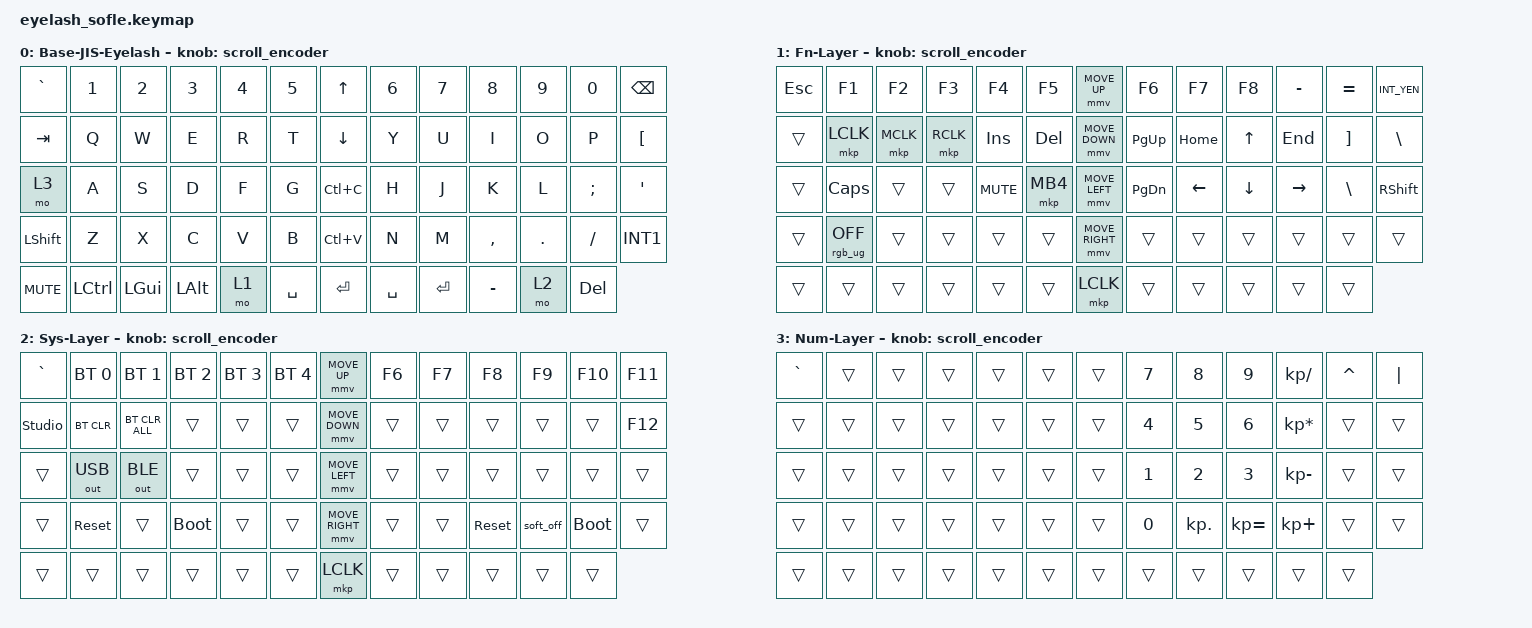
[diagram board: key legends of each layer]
#include <dt-bindings/zmk/mouse.h>
#include <input/processors.dtsi>
#include <behaviors.dtsi>
#include <dt-bindings/zmk/bt.h>
#include <dt-bindings/zmk/keys.h>
#include <dt-bindings/zmk/outputs.h>
#include <dt-bindings/zmk/pointing.h>
#include <dt-bindings/zmk/rgb.h>

#define ZMK_MOUSE_DEFAULT_MOVE_VAL 1200
#define ZMK_MOUSE_DEFAULT_SCRL_VAL 20

/ {
    behaviors {
        mmv {
            acceleration-exponent = <1>;
            time-to-max-speed-ms = <900>;
            delay-ms = <0>;
        };

        msc {
            acceleration-exponent = <1>;
            time-to-max-speed-ms = <400>;
            delay-ms = <0>;
        };
    };

    scroll_encoder: scroll_encoder {
        compatible = "zmk,behavior-sensor-rotate";
        #sensor-binding-cells = <0>;
        bindings = <&msc SCRL_DOWN>, <&msc SCRL_UP>;

        tap-ms = <30>;
    };

    keymap {
        compatible = "zmk,keymap";

        layer_0 {
            display-name = "Base-JIS-Eyelash";
            bindings = <
&kp GRAVE   &kp N1     &kp N2        &kp N3        &kp N4  &kp N5       &kp UP_ARROW    &kp N6     &kp N7     &kp N8     &kp N9   &kp N0      &kp BACKSPACE
&kp TAB     &kp Q      &kp W         &kp E         &kp R   &kp T        &kp DOWN_ARROW  &kp Y      &kp U      &kp I      &kp O    &kp P       &kp LEFT_BRACKET
&mo 3       &kp A      &kp S         &kp D         &kp F   &kp G        &kp LC(C)       &kp H      &kp J      &kp K      &kp L    &kp SEMI    &kp SINGLE_QUOTE
&kp LSHFT   &kp Z      &kp X         &kp C         &kp V   &kp B        &kp LC(V)       &kp N      &kp M      &kp COMMA  &kp DOT  &kp SLASH   &kp INT1
&kp C_MUTE  &kp LCTRL  &kp LEFT_GUI  &kp LEFT_ALT  &mo 1   &kp SPACE    &kp ENTER       &kp SPACE  &kp ENTER  &kp MINUS  &mo 2    &kp DELETE
            >;

            sensor-bindings = <&scroll_encoder>;
        };

        layer_1 {
            display-name = "Fn-Layer";
            bindings = <
&kp ESC  &kp F1           &kp F2     &kp F3     &kp F4      &kp F5      &mmv MOVE_UP     &kp F6     &kp F7    &kp F8    &kp MINUS  &kp EQUAL          &kp INT_YEN
&trans   &mkp LCLK        &mkp MCLK  &mkp RCLK  &kp INS     &kp DEL     &mmv MOVE_DOWN   &kp PG_UP  &kp HOME  &kp UP    &kp END    &kp RIGHT_BRACKET  &kp BACKSLASH
&trans   &kp CAPS         &trans     &trans     &kp C_MUTE  &mkp MB4    &mmv MOVE_LEFT   &kp PG_DN  &kp LEFT  &kp DOWN  &kp RIGHT  &kp BSLH           &kp RIGHT_SHIFT
&trans   &rgb_ug RGB_OFF  &trans     &trans     &trans      &trans      &mmv MOVE_RIGHT  &trans     &trans    &trans    &trans     &trans             &trans
&trans   &trans           &trans     &trans     &trans      &trans      &mkp LCLK        &trans     &trans    &trans    &trans     &trans
            >;

            sensor-bindings = <&scroll_encoder>;
        };

        layer_2 {
            display-name = "Sys-Layer";
            bindings = <
&kp GRAVE       &bt BT_SEL 0  &bt BT_SEL 1    &bt BT_SEL 2  &bt BT_SEL 3  &bt BT_SEL 4    &mmv MOVE_UP     &kp F6  &kp F7  &kp F8      &kp F9     &kp F10      &kp F11
&studio_unlock  &bt BT_CLR    &bt BT_CLR_ALL  &trans        &trans        &trans          &mmv MOVE_DOWN   &trans  &trans  &trans      &trans     &trans       &kp F12
&trans          &out OUT_USB  &out OUT_BLE    &trans        &trans        &trans          &mmv MOVE_LEFT   &trans  &trans  &trans      &trans     &trans       &trans
&trans          &sys_reset    &trans          &bootloader   &trans        &trans          &mmv MOVE_RIGHT  &trans  &trans  &sys_reset  &soft_off  &bootloader  &trans
&trans          &trans        &trans          &trans        &trans        &trans          &mkp LCLK        &trans  &trans  &trans      &trans     &trans
            >;

            sensor-bindings = <&scroll_encoder>;
        };

        layer_3 {
            display-name = "Num-Layer";
            bindings = <
&kp GRAVE  &trans  &trans  &trans  &trans  &trans    &trans  &kp N7  &kp N8      &kp N9        &kp KP_DIVIDE    &kp CARET  &kp PIPE
&trans     &trans  &trans  &trans  &trans  &trans    &trans  &kp N4  &kp N5      &kp N6        &kp KP_ASTERISK  &trans     &trans
&trans     &trans  &trans  &trans  &trans  &trans    &trans  &kp N1  &kp N2      &kp N3        &kp KP_SUBTRACT  &trans     &trans
&trans     &trans  &trans  &trans  &trans  &trans    &trans  &kp N0  &kp KP_DOT  &kp KP_EQUAL  &kp KP_PLUS      &trans     &trans
&trans     &trans  &trans  &trans  &trans  &trans    &trans  &trans  &trans      &trans        &trans           &trans
            >;

            sensor-bindings = <&scroll_encoder>;
        };
    };
};
